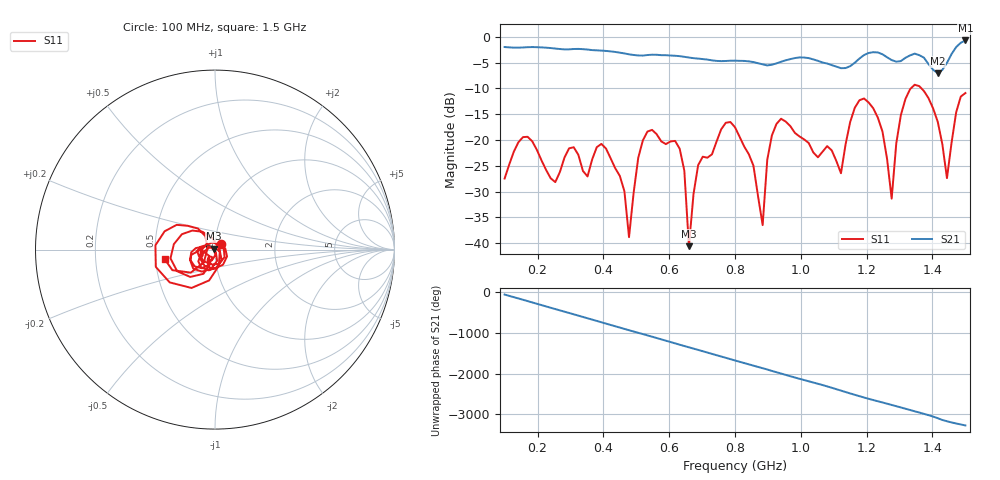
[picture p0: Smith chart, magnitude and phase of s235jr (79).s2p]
! NanoVNA-App
! Date: 2025-09-25 15:04:46
! Start: 100MHz Stop: 1,5GHz Points: 101
! S-Parameter data: F S11 S21 S12 S22
# Hz S RI R 50
!  Frequency  S11_Real  S11_Imag  S21_Real  S21_Imag  S12_Real  S12_Imag  S22_Real  S22_Imag
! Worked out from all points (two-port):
!   101 points, 100 MHz to 1.5 GHz, reference 50 ohm
!   highest |S21| = -0.69 dB at 1.5 GHz (marker M1); lowest = -7.0 dB at 1.416 GHz (marker M2)
!   |S21| within 3 dB of the highest: start of sweep to 623.7 MHz; 1.189 GHz to 1.256 GHz (67.19 MHz wide, 5.5 % of centre) (the widest 2 of 4)
!   lowest |S11| = -40.6 dB at 660 MHz (marker M3), VSWR 1.02, Z = 49.3 + j0.568 ohm
!   |S11| at or under -10 dB: start of sweep to 1.334 GHz; 1.367 GHz to end of sweep
!   S12 and S22 are empty: the file has one direction only
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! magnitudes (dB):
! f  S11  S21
! 100 MHz  -27.5  -2.0
! 156 MHz  -19.4  -2.1
! 338 MHz  -26.0  -2.4
! 408 MHz  -21.7  -2.7
! 478 MHz  -38.8  -3.4
! 520 MHz  -20.1  -3.6
! 576 MHz  -20.3  -3.5
! 632 MHz  -21.7  -3.7
! 660 MHz  -40.6  -4.0
! 688 MHz  -24.9  -4.2
! 800 MHz  -17.5  -4.6
! 884 MHz  -36.5  -5.3
! 926 MHz  -16.9  -5.1
! 1.038 GHz  -22.4  -4.4
! 1.122 GHz  -26.5  -6.1
! 1.192 GHz  -11.9  -3.5
! 1.248 GHz  -18.3  -3.4
! 1.276 GHz  -31.4  -4.5
! 1.332 GHz  -10.1  -3.6
! 1.416 GHz  -16.5  -7.0
! 1.444 GHz  -27.4  -5.0
! 1.5 GHz  -10.9  -0.7
